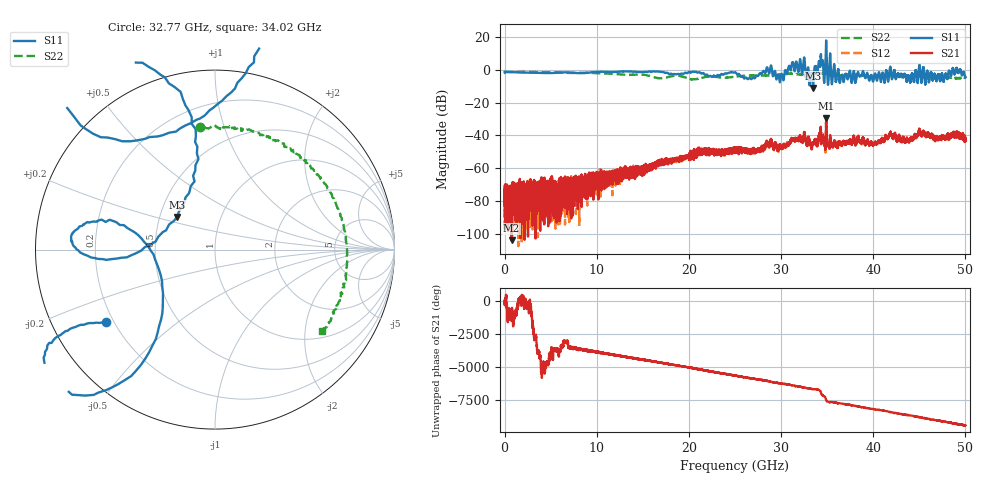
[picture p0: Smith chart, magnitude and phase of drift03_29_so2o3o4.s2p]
!Created with skrf (http://scikit-rf.org).
# Hz S RI R 50.0
!freq ReS11 ImS11 ReS21 ImS21 ReS12 ImS12 ReS22 ImS22
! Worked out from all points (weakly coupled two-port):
!   10001 points, 300 kHz to 50 GHz, reference 50 ohm
!   highest |S21| = -29.35 dB at 34.89 GHz (marker M1); lowest = -103.8 dB at 760.3 MHz (marker M2)
!   lowest |S11| = -11.1 dB at 33.47 GHz (marker M3), VSWR 1.77, Z = 30.8 + j12.1 ohm
!   |S11| at or under -10 dB: 33.44744 GHz to 33.48554 GHz (38.11 MHz wide, 0.114 % of centre)
!   |S22| runs from -5.9 to -1.3 dB; largest |S21 - S12| = 0.0084
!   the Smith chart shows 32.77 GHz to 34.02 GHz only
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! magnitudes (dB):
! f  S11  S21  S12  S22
! 300 kHz  -1.3  -75.5  -69.9  -2.0
! 760.3 MHz  -1.5  -103.8  -80.0  -1.5
! 5.46 GHz  -1.9  -76.2  -78.6  -1.7
! 8.335 GHz  -2.2  -82.1  -68.0  -1.9
! 16.67 GHz  -1.1  -58.2  -56.4  -5.2
! 25 GHz  -1.5  -48.5  -47.8  -4.3
! 26.92 GHz  -4.9  -49.5  -49.0  -3.5
! 28.73 GHz  -2.2  -45.4  -45.5  -3.5
! 30.06 GHz  -2.5  -47.1  -47.2  -2.8
! 31.87 GHz  -1.5  -41.8  -42.1  -2.9
! 33.34 GHz  -2.2  -47.5  -46.9  -2.9
! 33.47 GHz  -11.1  -45.4  -44.8  -2.8
! 34.3 GHz  7.3  -35.0  -34.7  -2.3
! 34.89 GHz  17.7  -29.4  -31.5  -2.4
! 36.58 GHz  -3.5  -46.2  -46.0  -3.6
! 40.15 GHz  -3.0  -44.5  -44.5  -3.7
! 41.67 GHz  -5.6  -40.8  -40.7  -3.7
! 43.84 GHz  -3.6  -43.9  -43.7  -3.9
! 45.19 GHz  -6.1  -38.7  -39.0  -4.5
! 47.07 GHz  -2.9  -42.3  -41.4  -5.1
! 49.22 GHz  -2.1  -40.3  -41.2  -5.2
! 50 GHz  -4.7  -43.3  -41.9  -5.0
